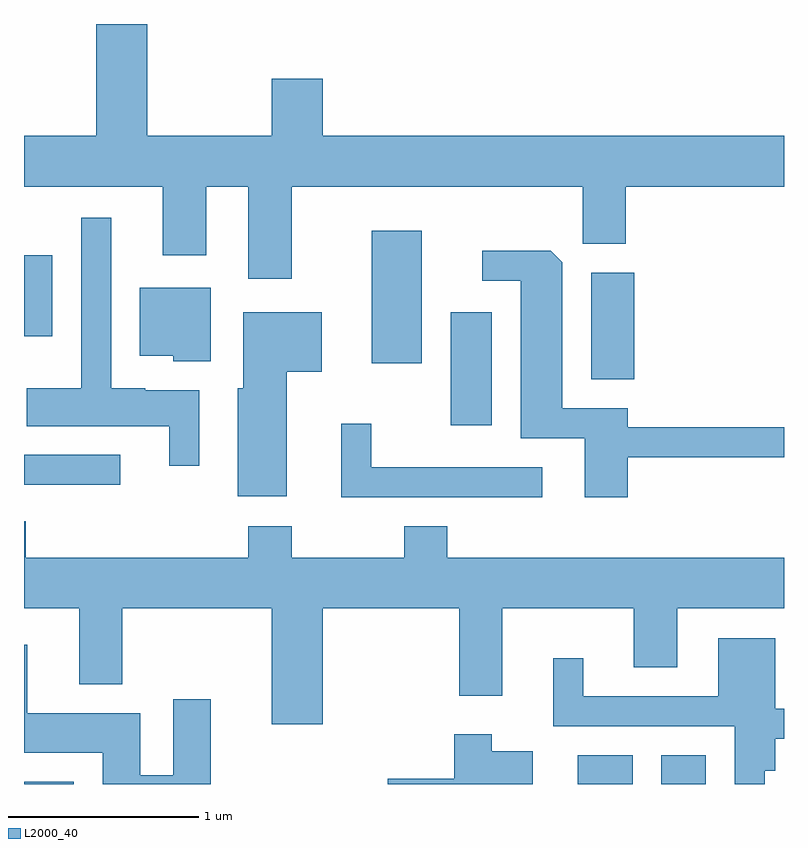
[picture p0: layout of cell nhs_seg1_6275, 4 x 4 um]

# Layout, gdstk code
import gdstk
lib = gdstk.Library(unit=1e-6, precision=1e-09)
def R(c, l, rs):  # rectangles x0, y0, x1, y1
    for r in rs: c.add(gdstk.rectangle(r[:2], r[2:], *l))
def P(c, l, *ps):  # polygons
    for p in ps: c.add(gdstk.Polygon(p, *l))
L2000_40 = (2000, 40)

nhs_seg1_6275 = lib.new_cell('nhs_seg1_6275')
R(nhs_seg1_6275, L2000_40, [(373.611,949.712,373.874,949.724), (376.526,949.712,376.814,949.864), (376.966,949.712,377.199,949.864), (373.611,951.286,374.118,951.444), (375.856,951.601,376.074,952.194), (376.596,951.841,376.824,952.404), (375.441,951.926,375.704,952.624), (373.611,952.068,373.759,952.494)])
P(nhs_seg1_6275, L2000_40, [(375.019,952.856),(376.551,952.856),(376.551,952.556),(376.779,952.556),(376.779,952.856),(377.611,952.856),(377.611,953.124),(375.184,953.124),(375.184,953.424),(374.916,953.424),(374.916,953.124),(374.259,953.124),(374.259,953.712),(373.991,953.712),(373.991,953.124),(373.611,953.124),(373.611,952.856),(374.341,952.856),(374.341,952.496),(374.569,952.496),(374.569,952.856),(374.791,952.856),(374.791,952.371),(375.019,952.371)],
  [(374.534,951.784),(374.25,951.784),(374.25,951.794),(374.069,951.794),(374.069,952.693),(373.911,952.693),(373.911,951.794),(373.626,951.794),(373.626,951.596),(374.376,951.596),(374.376,951.388),(374.534,951.388)],
  [(376.789,951.431),(377.611,951.431),(377.611,951.589),(376.789,951.589),(376.789,951.689),(376.444,951.689),(376.444,952.459),(376.384,952.519),(376.023,952.519),(376.023,952.361),(376.226,952.361),(376.226,951.531),(376.561,951.531),(376.561,951.221),(376.789,951.221)],
  [(374.594,952.324),(374.221,952.324),(374.221,951.966),(374.396,951.966),(374.396,951.936),(374.594,951.936)],
  [(374.994,951.881),(375.179,951.881),(375.179,952.194),(374.766,952.194),(374.766,951.794),(374.736,951.794),(374.736,951.226),(374.994,951.226)],
  [(376.338,951.379),(375.439,951.379),(375.439,951.608),(375.281,951.608),(375.281,951.221),(376.338,951.221)],
  [(375.184,950.636),(375.901,950.636),(375.901,950.176),(376.129,950.176),(376.129,950.636),(376.821,950.636),(376.821,950.326),(377.049,950.326),(377.049,950.636),(377.611,950.636),(377.611,950.904),(375.839,950.904),(375.839,951.069),(375.611,951.069),(375.611,950.904),(375.019,950.904),(375.019,951.069),(374.791,951.069),(374.791,950.904),(373.619,950.904),(373.619,951.094),(373.611,951.094),(373.611,950.636),(373.901,950.636),(373.901,950.236),(374.129,950.236),(374.129,950.636),(374.916,950.636),(374.916,950.026),(375.184,950.026)],
  [(377.509,949.781),(377.564,949.781),(377.564,949.951),(377.611,949.951),(377.611,950.109),(377.564,950.109),(377.564,950.479),(377.266,950.479),(377.266,950.174),(376.554,950.174),(376.554,950.373),(376.396,950.373),(376.396,950.016),(377.351,950.016),(377.351,949.712),(377.509,949.712)],
  [(374.594,950.159),(374.396,950.159),(374.396,949.759),(374.224,949.759),(374.224,950.084),(373.629,950.084),(373.629,950.444),(373.611,950.444),(373.611,949.876),(374.026,949.876),(374.026,949.712),(374.594,949.712)],
  [(376.289,949.884),(376.074,949.884),(376.074,949.974),(375.876,949.974),(375.876,949.739),(375.526,949.739),(375.526,949.712),(376.289,949.712)])

lib.write_gds('nhs_seg1_6275.gds')
